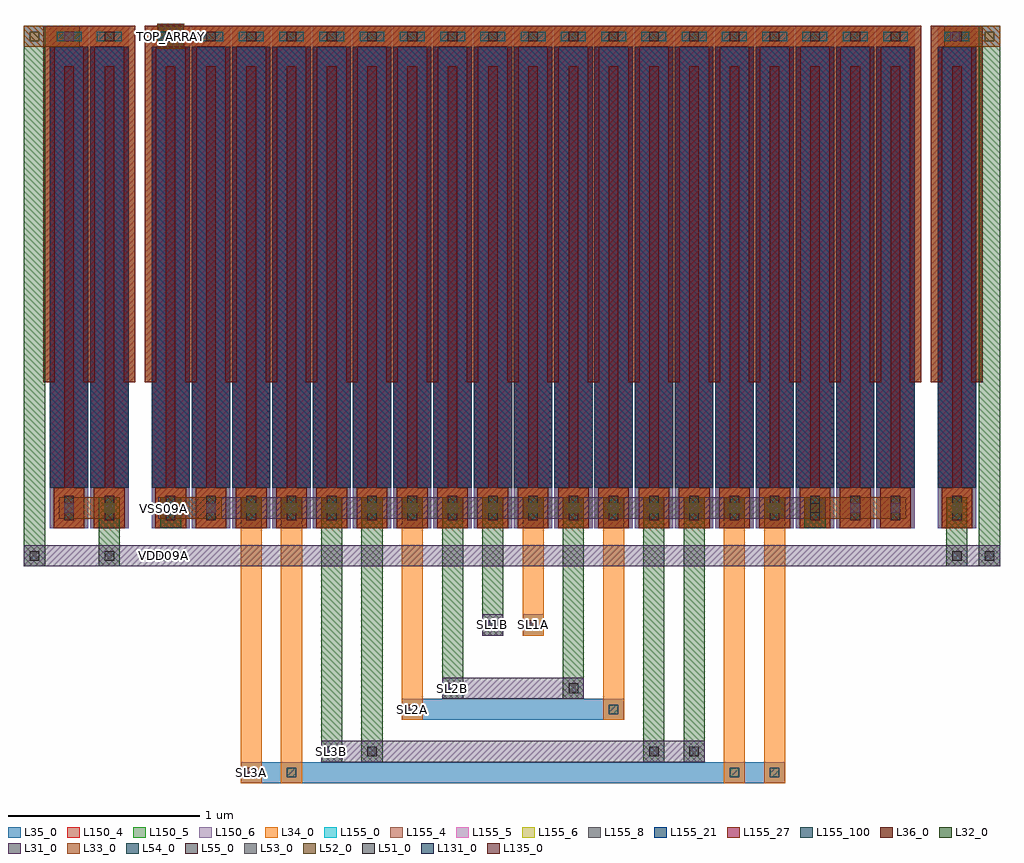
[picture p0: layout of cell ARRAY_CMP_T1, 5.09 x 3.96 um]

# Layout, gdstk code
from math import pi, radians
import gdstk
lib = gdstk.Library(unit=1e-6, precision=1e-09)
def R(c, l, rs):  # rectangles x0, y0, x1, y1
    for r in rs: c.add(gdstk.rectangle(r[:2], r[2:], *l))
def A(c, l, x, y, w, h, nx, ny, dx, dy):  # array of equal rectangles
    R(c, l, [(x+i*dx, y+j*dy, x+i*dx+w, y+j*dy+h) for i in range(nx) for j in range(ny)])
L31_0 = (31, 0)
L32_0 = (32, 0)
L33_0 = (33, 0)
L34_0 = (34, 0)
L35_0 = (35, 0)
L36_0 = (36, 0)
L51_0 = (51, 0)
L52_0 = (52, 0)
L53_0 = (53, 0)
L54_0 = (54, 0)
L55_0 = (55, 0)
L131_0 = (131, 0)
L135_0 = (135, 0)
L150_4 = (150, 4)
L150_5 = (150, 5)
L150_6 = (150, 6)
L155_0 = (155, 0)
L155_4 = (155, 4)
L155_5 = (155, 5)
L155_6 = (155, 6)
L155_8 = (155, 8)
L155_21 = (155, 21)
L155_27 = (155, 27)
L155_100 = (155, 100)

m5_m4_cdns_615876848287 = lib.new_cell('M5_M4_CDNS_615876848287')
R(m5_m4_cdns_615876848287, L34_0, [(-0.07,-0.105,0.07,0.105)])
R(m5_m4_cdns_615876848287, L35_0, [(-0.07,-0.105,0.07,0.105)])
R(m5_m4_cdns_615876848287, L54_0, [(-0.025,-0.065,0.025,0.065)])

m6_m5_cdns_615876848288 = lib.new_cell('M6_M5_CDNS_615876848288')
R(m6_m5_cdns_615876848288, L35_0, [(-0.07,-0.105,0.07,0.105)])
R(m6_m5_cdns_615876848288, L36_0, [(-0.055,-0.105,0.055,0.105)])
R(m6_m5_cdns_615876848288, L55_0, [(-0.025,-0.065,0.025,0.065)])

m5_m4_cdns_615876848289 = lib.new_cell('M5_M4_CDNS_615876848289')
R(m5_m4_cdns_615876848289, L34_0, [(-0.095,-0.055,0.095,0.055)])
R(m5_m4_cdns_615876848289, L35_0, [(-0.12,-0.055,0.12,0.055)])
R(m5_m4_cdns_615876848289, L54_0, [(-0.065,-0.025,0.065,0.025)])

m6_m5_cdns_6158768482810 = lib.new_cell('M6_M5_CDNS_6158768482810')
R(m6_m5_cdns_6158768482810, L35_0, [(-0.055,-0.055,0.055,0.055)])
R(m6_m5_cdns_6158768482810, L36_0, [(-0.055,-0.055,0.055,0.055)])
R(m6_m5_cdns_6158768482810, L55_0, [(-0.025,-0.025,0.025,0.025)])

cu1f = lib.new_cell('CU1F')
R(cu1f, L34_0, [(0.02,0,0.18,0.21), (-0.035,2.51,0.235,2.62)])
R(cu1f, L35_0, [(0.02,0,0.18,0.21), (-0.035,2.51,0.235,2.62)])
R(cu1f, L36_0, [(0.02,0,0.18,0.21), (-0.035,2.51,0.235,2.62)])
R(cu1f, L150_4, [(0,0,0.2,2.62)])
R(cu1f, L150_5, [(0,0,0.2,2.62)])
R(cu1f, L150_6, [(0,0,0.2,2.62)])
R(cu1f, L155_0, [(0,0.21,0.2,2.51)])
R(cu1f, L155_4, [(0,0.21,0.2,2.51)])
R(cu1f, L155_5, [(0,0.21,0.2,2.51)])
R(cu1f, L155_6, [(0,0.21,0.2,2.51)])
R(cu1f, L155_8, [(0,0.21,0.2,2.51)])
R(cu1f, L155_21, [(0,0.21,0.2,2.51)])
R(cu1f, L155_27, [(0,0.21,0.2,2.51)])
R(cu1f, L155_100, [(0,0.21,0.2,2.51)])
cu1f.add(gdstk.FlexPath([(0.205,2.59),(0.205,0.76)], 0.06, ends=(0.03, 0), simple_path=True, layer=34, datatype=0))  # L34_0
cu1f.add(gdstk.FlexPath([(0.1,2.41),(0.1,0)], 0.05, ends="flush", simple_path=True, layer=34, datatype=0))  # L34_0
cu1f.add(gdstk.FlexPath([(-0.005,2.59),(-0.005,0.76)], 0.06, ends=(0.03, 0), simple_path=True, layer=34, datatype=0))  # L34_0
cu1f.add(gdstk.FlexPath([(0.205,0.76),(0.205,2.59)], 0.06, ends=(0, 0.03), simple_path=True, layer=35, datatype=0))  # L35_0
cu1f.add(gdstk.FlexPath([(0.1,2.41),(0.1,0)], 0.05, ends="flush", simple_path=True, layer=35, datatype=0))  # L35_0
cu1f.add(gdstk.FlexPath([(-0.005,0.76),(-0.005,2.59)], 0.06, ends=(0, 0.03), simple_path=True, layer=35, datatype=0))  # L35_0
cu1f.add(gdstk.FlexPath([(0.205,0.76),(0.205,2.59)], 0.06, ends=(0, 0.03), simple_path=True, layer=36, datatype=0))  # L36_0
cu1f.add(gdstk.FlexPath([(0.1,2.41),(0.1,0)], 0.05, ends="flush", simple_path=True, layer=36, datatype=0))  # L36_0
cu1f.add(gdstk.FlexPath([(-0.005,0.76),(-0.005,2.59)], 0.06, ends=(0, 0.03), simple_path=True, layer=36, datatype=0))  # L36_0
cu1f.add(gdstk.Reference(m5_m4_cdns_615876848287, (0.1,0.105), rotation=pi, x_reflection=True))
cu1f.add(gdstk.Reference(m6_m5_cdns_615876848288, (0.1,0.105), rotation=pi, x_reflection=True))
cu1f.add(gdstk.Reference(m5_m4_cdns_615876848289, (0.1,2.565)))
cu1f.add(gdstk.Reference(m6_m5_cdns_6158768482810, (0.1,2.565)))

m2_m1_cdns_615876848280 = lib.new_cell('M2_M1_CDNS_615876848280')
R(m2_m1_cdns_615876848280, L31_0, [(-0.055,-0.055,0.055,0.055)])
R(m2_m1_cdns_615876848280, L32_0, [(-0.055,-0.055,0.055,0.055)])
R(m2_m1_cdns_615876848280, L51_0, [(-0.025,-0.025,0.025,0.025)])

m3_m2_cdns_615876848281 = lib.new_cell('M3_M2_CDNS_615876848281')
R(m3_m2_cdns_615876848281, L32_0, [(-0.055,-0.055,0.055,0.055)])
R(m3_m2_cdns_615876848281, L33_0, [(-0.055,-0.055,0.055,0.055)])
R(m3_m2_cdns_615876848281, L52_0, [(-0.025,-0.025,0.025,0.025)])

m4_m3_cdns_615876848282 = lib.new_cell('M4_M3_CDNS_615876848282')
R(m4_m3_cdns_615876848282, L33_0, [(-0.055,-0.055,0.055,0.055)])
R(m4_m3_cdns_615876848282, L34_0, [(-0.055,-0.055,0.055,0.055)])
R(m4_m3_cdns_615876848282, L53_0, [(-0.025,-0.025,0.025,0.025)])

m4_m3_cdns_615876848283 = lib.new_cell('M4_M3_CDNS_615876848283')
R(m4_m3_cdns_615876848283, L33_0, [(-0.07,-0.065,0.07,0.065)])
R(m4_m3_cdns_615876848283, L34_0, [(-0.055,-0.055,0.055,0.055)])
R(m4_m3_cdns_615876848283, L53_0, [(-0.025,-0.025,0.025,0.025)])

m3_m2_cdns_615876848284 = lib.new_cell('M3_M2_CDNS_615876848284')
R(m3_m2_cdns_615876848284, L32_0, [(-0.065,-0.06,0.065,0.06)])
R(m3_m2_cdns_615876848284, L33_0, [(-0.07,-0.065,0.07,0.065)])
R(m3_m2_cdns_615876848284, L52_0, [(-0.025,-0.025,0.025,0.025)])

m2_m1_cdns_615876848285 = lib.new_cell('M2_M1_CDNS_615876848285')
R(m2_m1_cdns_615876848285, L31_0, [(-0.055,-0.055,0.055,0.055)])
R(m2_m1_cdns_615876848285, L32_0, [(-0.065,-0.06,0.065,0.06)])
R(m2_m1_cdns_615876848285, L51_0, [(-0.025,-0.025,0.025,0.025)])

m5_m4_cdns_615876848286 = lib.new_cell('M5_M4_CDNS_615876848286')
R(m5_m4_cdns_615876848286, L34_0, [(-0.055,-0.055,0.055,0.055)])
R(m5_m4_cdns_615876848286, L35_0, [(-0.055,-0.055,0.055,0.055)])
R(m5_m4_cdns_615876848286, L54_0, [(-0.025,-0.025,0.025,0.025)])

array_cmp_t1 = lib.new_cell('ARRAY_CMP_T1')
R(array_cmp_t1, L31_0, [(1.415,-1.22,3.415,-1.11), (2.045,-0.89,2.785,-0.78), (2.255,-0.56,2.365,-0.45), (-0.135,-0.2,4.955,-0.09), (0.565,0.05,4.045,0.16), (0.56,2.5,0.7,2.63)])
R(array_cmp_t1, L32_0, [(1.415,-1.22,1.525,0.16), (1.625,-1.22,1.735,0.16), (3.095,-1.22,3.205,0.16), (3.305,-1.22,3.415,0.16), (2.045,-0.89,2.155,0.16), (2.675,-0.89,2.785,0.16), (2.255,-0.56,2.365,0.16), (-0.135,-0.2,-0.025,2.62), (0.255,-0.2,0.365,0.16), (4.675,-0.2,4.785,0.16), (4.845,-0.2,4.955,2.62), (0.575,0,0.685,0.16), (3.935,0,4.045,0.16)])
A(array_cmp_t1, L33_0, 0.995, 0, 0.11, 0.16, 14, 1, 0.21, 0)
R(array_cmp_t1, L33_0, [(4.675,0,4.785,0.16), (0.045,0.05,0.365,0.16), (0.575,0.05,0.895,0.16), (3.935,0.05,4.465,0.16), (-0.135,2.51,0.155,2.62), (4.665,2.51,4.955,2.62)])
R(array_cmp_t1, L34_0, [(0.995,-1.33,1.105,0.16), (1.205,-1.33,1.315,0.16), (3.515,-1.33,3.625,0.16), (3.725,-1.33,3.835,0.16), (1.835,-1,1.945,0.16), (2.885,-1,2.995,0.16), (2.465,-0.56,2.575,0.16)])
R(array_cmp_t1, L35_0, [(0.995,-1.33,3.835,-1.22), (1.835,-1,2.995,-0.89), (2.465,-0.56,2.575,-0.45)])
R(array_cmp_t1, L131_0, [(1.445,-1.19,1.495,-1.14), (2.075,-0.86,2.125,-0.81), (2.285,-0.53,2.335,-0.48), (0.565,-0.17,0.615,-0.12), (0.565,0.08,0.615,0.13), (0.605,2.54,0.655,2.59)])
R(array_cmp_t1, L135_0, [(1.025,-1.3,1.075,-1.25), (1.865,-0.97,1.915,-0.92), (2.495,-0.53,2.545,-0.48)])
array_cmp_t1.add(gdstk.Reference(cu1f, (0,0)))
array_cmp_t1.add(gdstk.Reference(cu1f, (0.21,0)))
array_cmp_t1.add(gdstk.Reference(cu1f, (0.53,0)))
array_cmp_t1.add(gdstk.Reference(cu1f, (0.74,0)))
array_cmp_t1.add(gdstk.Reference(cu1f, (4.63,0)))
array_cmp_t1.add(gdstk.Reference(cu1f, (4.31,0)))
array_cmp_t1.add(gdstk.Reference(cu1f, (4.1,0)))
array_cmp_t1.add(gdstk.Reference(cu1f, (3.89,0)))
array_cmp_t1.add(gdstk.Reference(cu1f, (3.68,0)))
array_cmp_t1.add(gdstk.Reference(cu1f, (3.47,0)))
array_cmp_t1.add(gdstk.Reference(cu1f, (3.26,0)))
array_cmp_t1.add(gdstk.Reference(cu1f, (3.05,0)))
array_cmp_t1.add(gdstk.Reference(cu1f, (2.84,0)))
array_cmp_t1.add(gdstk.Reference(cu1f, (2.63,0)))
array_cmp_t1.add(gdstk.Reference(cu1f, (2.42,0)))
array_cmp_t1.add(gdstk.Reference(cu1f, (2.21,0)))
array_cmp_t1.add(gdstk.Reference(cu1f, (2,0)))
array_cmp_t1.add(gdstk.Reference(cu1f, (1.79,0)))
array_cmp_t1.add(gdstk.Reference(cu1f, (1.58,0)))
array_cmp_t1.add(gdstk.Reference(cu1f, (1.37,0)))
array_cmp_t1.add(gdstk.Reference(cu1f, (1.16,0)))
array_cmp_t1.add(gdstk.Reference(cu1f, (0.95,0)))
array_cmp_t1.add(gdstk.Reference(m2_m1_cdns_615876848280, (4.9,-0.145)))
array_cmp_t1.add(gdstk.Reference(m2_m1_cdns_615876848280, (-0.08,-0.145)))
array_cmp_t1.add(gdstk.Reference(m2_m1_cdns_615876848280, (3.99,0.105)))
array_cmp_t1.add(gdstk.Reference(m2_m1_cdns_615876848280, (4.73,-0.145)))
array_cmp_t1.add(gdstk.Reference(m2_m1_cdns_615876848280, (0.31,-0.145)))
array_cmp_t1.add(gdstk.Reference(m2_m1_cdns_615876848280, (2.31,-0.505)))
array_cmp_t1.add(gdstk.Reference(m2_m1_cdns_615876848280, (2.1,-0.835)))
array_cmp_t1.add(gdstk.Reference(m2_m1_cdns_615876848280, (2.73,-0.835)))
array_cmp_t1.add(gdstk.Reference(m2_m1_cdns_615876848280, (1.68,-1.165)))
array_cmp_t1.add(gdstk.Reference(m2_m1_cdns_615876848280, (1.47,-1.165)))
array_cmp_t1.add(gdstk.Reference(m2_m1_cdns_615876848280, (3.15,-1.165)))
array_cmp_t1.add(gdstk.Reference(m2_m1_cdns_615876848280, (3.36,-1.165)))
array_cmp_t1.add(gdstk.Reference(m2_m1_cdns_615876848280, (0.63,0.105)))
array_cmp_t1.add(gdstk.Reference(m3_m2_cdns_615876848281, (4.9,2.565)))
array_cmp_t1.add(gdstk.Reference(m3_m2_cdns_615876848281, (-0.08,2.565)))
array_cmp_t1.add(gdstk.Reference(m3_m2_cdns_615876848281, (1.05,0.105)))
array_cmp_t1.add(gdstk.Reference(m3_m2_cdns_615876848281, (1.26,0.105)))
array_cmp_t1.add(gdstk.Reference(m3_m2_cdns_615876848281, (1.47,0.105)))
array_cmp_t1.add(gdstk.Reference(m3_m2_cdns_615876848281, (1.68,0.105)))
array_cmp_t1.add(gdstk.Reference(m3_m2_cdns_615876848281, (1.89,0.105)))
array_cmp_t1.add(gdstk.Reference(m3_m2_cdns_615876848281, (2.1,0.105)))
array_cmp_t1.add(gdstk.Reference(m3_m2_cdns_615876848281, (2.31,0.105)))
array_cmp_t1.add(gdstk.Reference(m3_m2_cdns_615876848281, (2.52,0.105)))
array_cmp_t1.add(gdstk.Reference(m3_m2_cdns_615876848281, (2.73,0.105)))
array_cmp_t1.add(gdstk.Reference(m3_m2_cdns_615876848281, (2.94,0.105)))
array_cmp_t1.add(gdstk.Reference(m3_m2_cdns_615876848281, (3.15,0.105)))
array_cmp_t1.add(gdstk.Reference(m3_m2_cdns_615876848281, (3.36,0.105)))
array_cmp_t1.add(gdstk.Reference(m3_m2_cdns_615876848281, (3.57,0.105)))
array_cmp_t1.add(gdstk.Reference(m3_m2_cdns_615876848281, (3.78,0.105)))
array_cmp_t1.add(gdstk.Reference(m3_m2_cdns_615876848281, (4.73,0.105)))
array_cmp_t1.add(gdstk.Reference(m3_m2_cdns_615876848281, (3.99,0.105)))
array_cmp_t1.add(gdstk.Reference(m3_m2_cdns_615876848281, (0.63,0.105)))
array_cmp_t1.add(gdstk.Reference(m3_m2_cdns_615876848281, (0.31,0.105)))
array_cmp_t1.add(gdstk.Reference(m4_m3_cdns_615876848282, (4.72,2.565), rotation=pi, x_reflection=True))
array_cmp_t1.add(gdstk.Reference(m4_m3_cdns_615876848282, (0.1,2.565)))
array_cmp_t1.add(gdstk.Reference(m4_m3_cdns_615876848282, (1.05,0.105)))
array_cmp_t1.add(gdstk.Reference(m4_m3_cdns_615876848282, (1.26,0.105)))
array_cmp_t1.add(gdstk.Reference(m4_m3_cdns_615876848282, (1.47,0.105)))
array_cmp_t1.add(gdstk.Reference(m4_m3_cdns_615876848282, (1.68,0.105)))
array_cmp_t1.add(gdstk.Reference(m4_m3_cdns_615876848282, (1.89,0.105)))
array_cmp_t1.add(gdstk.Reference(m4_m3_cdns_615876848282, (2.1,0.105)))
array_cmp_t1.add(gdstk.Reference(m4_m3_cdns_615876848282, (2.31,0.105)))
array_cmp_t1.add(gdstk.Reference(m4_m3_cdns_615876848282, (2.52,0.105)))
array_cmp_t1.add(gdstk.Reference(m4_m3_cdns_615876848282, (2.73,0.105)))
array_cmp_t1.add(gdstk.Reference(m4_m3_cdns_615876848282, (2.94,0.105)))
array_cmp_t1.add(gdstk.Reference(m4_m3_cdns_615876848282, (3.15,0.105)))
array_cmp_t1.add(gdstk.Reference(m4_m3_cdns_615876848282, (3.36,0.105)))
array_cmp_t1.add(gdstk.Reference(m4_m3_cdns_615876848282, (3.57,0.105)))
array_cmp_t1.add(gdstk.Reference(m4_m3_cdns_615876848282, (3.78,0.105)))
array_cmp_t1.add(gdstk.Reference(m4_m3_cdns_615876848282, (4.73,0.105)))
array_cmp_t1.add(gdstk.Reference(m4_m3_cdns_615876848282, (4.2,0.105)))
array_cmp_t1.add(gdstk.Reference(m4_m3_cdns_615876848282, (4.41,0.105)))
array_cmp_t1.add(gdstk.Reference(m4_m3_cdns_615876848282, (3.99,0.105)))
array_cmp_t1.add(gdstk.Reference(m4_m3_cdns_615876848282, (0.84,0.105)))
array_cmp_t1.add(gdstk.Reference(m4_m3_cdns_615876848282, (0.63,0.105)))
array_cmp_t1.add(gdstk.Reference(m4_m3_cdns_615876848282, (0.1,0.105)))
array_cmp_t1.add(gdstk.Reference(m4_m3_cdns_615876848282, (0.31,0.105)))
array_cmp_t1.add(gdstk.Reference(m4_m3_cdns_615876848283, (0.63,2.565)))
array_cmp_t1.add(gdstk.Reference(m3_m2_cdns_615876848284, (0.63,2.565)))
array_cmp_t1.add(gdstk.Reference(m2_m1_cdns_615876848285, (0.63,2.565)))
array_cmp_t1.add(gdstk.Reference(m5_m4_cdns_615876848286, (1.89,-0.945)))
array_cmp_t1.add(gdstk.Reference(m5_m4_cdns_615876848286, (2.94,-0.945)))
array_cmp_t1.add(gdstk.Reference(m5_m4_cdns_615876848286, (2.52,-0.505)))
array_cmp_t1.add(gdstk.Reference(m5_m4_cdns_615876848286, (3.78,-1.275)))
array_cmp_t1.add(gdstk.Reference(m5_m4_cdns_615876848286, (1.26,-1.275)))
array_cmp_t1.add(gdstk.Reference(m5_m4_cdns_615876848286, (3.57,-1.275)))
array_cmp_t1.add(gdstk.Reference(m5_m4_cdns_615876848286, (1.05,-1.275)))
array_cmp_t1.add(gdstk.Label('SL3A', (1.05,-1.275), layer=135, texttype=0))
array_cmp_t1.add(gdstk.Label('SL1A', (2.52,-0.505), layer=135, texttype=0))
array_cmp_t1.add(gdstk.Label('SL2A', (1.89,-0.945), layer=135, texttype=0))
array_cmp_t1.add(gdstk.Label('VDD09A', (0.59,-0.145), layer=131, texttype=0))
array_cmp_t1.add(gdstk.Label('SL3B', (1.47,-1.165), layer=131, texttype=0))
array_cmp_t1.add(gdstk.Label('VSS09A', (0.59,0.105), layer=131, texttype=0))
array_cmp_t1.add(gdstk.Label('SL1B', (2.31,-0.505), layer=131, texttype=0))
array_cmp_t1.add(gdstk.Label('SL2B', (2.1,-0.835), layer=131, texttype=0))
array_cmp_t1.add(gdstk.Label('TOP_ARRAY', (0.628,2.565), layer=131, texttype=0))

lib.write_gds('ARRAY_CMP_T1.gds')
